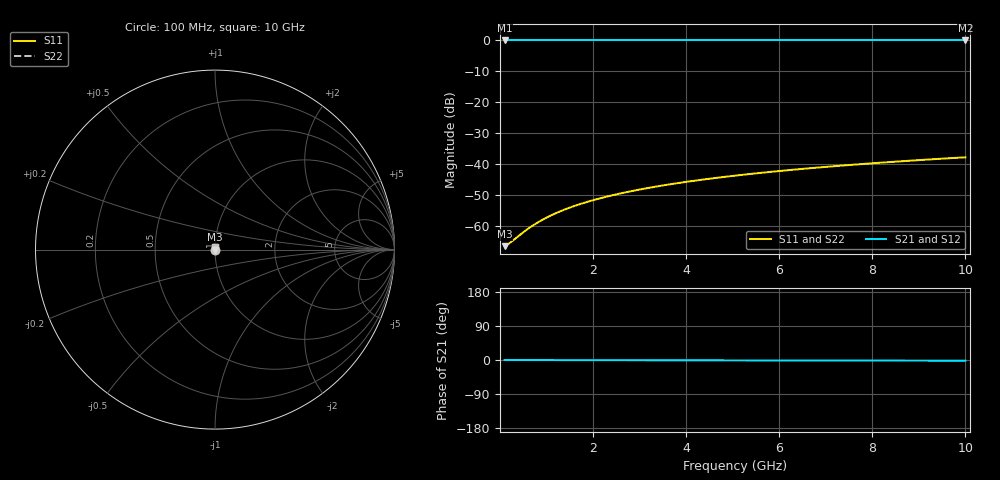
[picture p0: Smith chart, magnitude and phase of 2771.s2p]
# Hz S RI R 50.00
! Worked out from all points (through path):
!   100 points, 100 MHz to 10 GHz, reference 50 ohm
!   highest |S21| = 0.00 dB at 100 MHz (marker M1); lowest = 0.0 dB at 10 GHz (marker M2)
!   lowest |S11| = -66.4 dB at 100 MHz (marker M3), VSWR 1.00, Z = 50 + j0.013 ohm
!   |S11| at or under -10 dB: start of sweep to end of sweep
!   |S22| runs from -66.4 to -37.7 dB; largest |S21 - S12| = 0
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1e8  0.000462 0.00013  0.9995 -0.00033  0.9995 -0.00033  0.000462 0.00013
2e8  0.000465 0.00026  0.9995 -0.000659  0.9995 -0.000659  0.000465 0.00026
5e8  0.000471 0.000649  0.9995 -0.00165  0.9995 -0.00165  0.000471 0.000649
6e8  0.000473 0.000779  0.9995 -0.00198  0.9995 -0.00198  0.000473 0.000779
7e8  0.000474 0.000908  0.9995 -0.00231  0.9995 -0.00231  0.000474 0.000908
9e8  0.000478 0.00117  0.9995 -0.00297  0.9995 -0.00297  0.000478 0.00117
1.1e9  0.000481 0.00143  0.9995 -0.00363  0.9995 -0.00363  0.000481 0.00143
1.3e9  0.000485 0.00169  0.9995 -0.00429  0.9995 -0.00429  0.000485 0.00169
1.5e9  0.000489 0.00195  0.9995 -0.00495  0.9995 -0.00495  0.000489 0.00195
1.8e9  0.000495 0.00234  0.9995 -0.00593  0.9995 -0.00593  0.000495 0.00234
2.1e9  0.000502 0.00273  0.9995 -0.00692  0.9995 -0.00692  0.000502 0.00273
2.5e9  0.000512 0.00324  0.9995 -0.00824  0.9995 -0.00824  0.000512 0.00324
2.9e9  0.000523 0.00376  0.9995 -0.00956  0.9995 -0.00956  0.000523 0.00376
3.4e9  0.000538 0.00441  0.9994 -0.0112  0.9994 -0.0112  0.000538 0.00441
3.8e9  0.000552 0.00493  0.9994 -0.0125  0.9994 -0.0125  0.000552 0.00493
4.2e9  0.000568 0.00545  0.9994 -0.0139  0.9994 -0.0139  0.000568 0.00545
5.1e9  0.000607 0.00662  0.9993 -0.0168  0.9993 -0.0168  0.000607 0.00662
5.9e9  0.000648 0.00766  0.9993 -0.0195  0.9993 -0.0195  0.000648 0.00766
6.7e9  0.000694 0.0087  0.9992 -0.0221  0.9992 -0.0221  0.000694 0.0087
7.5e9  0.000746 0.00974  0.9991 -0.0248  0.9991 -0.0248  0.000746 0.00974
8.4e9  0.000811 0.0109  0.999 -0.0277  0.999 -0.0277  0.000811 0.0109
1e10  0.000943 0.013  0.9988 -0.0331  0.9988 -0.0331  0.000943 0.013
